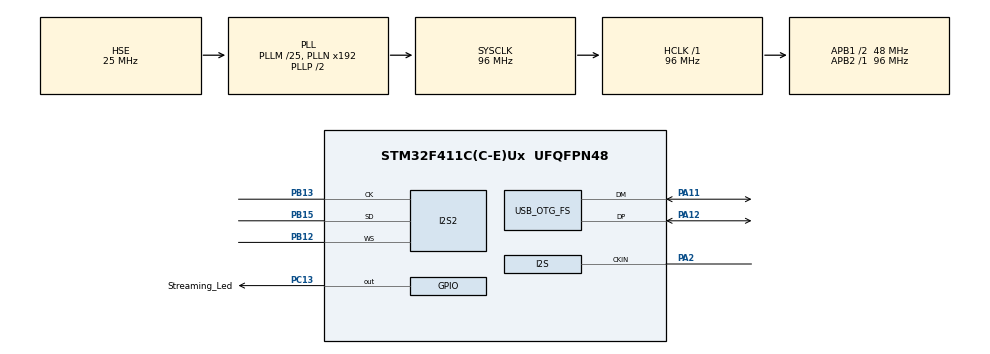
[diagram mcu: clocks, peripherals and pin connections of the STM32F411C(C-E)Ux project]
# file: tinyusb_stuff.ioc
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Dma.Request0=SPI2_TX
Dma.SPI2_TX.0.Direction=DMA_MEMORY_TO_PERIPH
Dma.SPI2_TX.0.FIFOMode=DMA_FIFOMODE_DISABLE
Dma.SPI2_TX.0.Instance=DMA1_Stream4
Dma.SPI2_TX.0.MemDataAlignment=DMA_MDATAALIGN_HALFWORD
Dma.SPI2_TX.0.MemInc=DMA_MINC_ENABLE
Dma.SPI2_TX.0.Mode=DMA_CIRCULAR
Dma.SPI2_TX.0.PeriphDataAlignment=DMA_PDATAALIGN_HALFWORD
Dma.SPI2_TX.0.PeriphInc=DMA_PINC_DISABLE
Dma.SPI2_TX.0.Priority=DMA_PRIORITY_VERY_HIGH
I2S2.AudioFreq=I2S_AUDIOFREQ_48K
I2S2.ClockSource=I2S_CLOCK_EXTERNAL
I2S2.DataFormat=I2S_DATAFORMAT_24B
I2S2.ErrorAudioFreq=0.0 %
I2S2.FullDuplexMode=I2S_FULLDUPLEXMODE_DISABLE
I2S2.Instance=SPI$Index
I2S2.RealAudioFreq=48.0 KHz
I2S2.VirtualMode=I2S_MODE_MASTER
Mcu.Family=STM32F4
Mcu.Name=STM32F411C(C-E)Ux
Mcu.Package=UFQFPN48
NVIC.DMA1_Stream4_IRQn=true\:0\:0\:false\:false\:true\:false\:true\:true
NVIC.OTG_FS_IRQn=true\:0\:0\:false\:false\:true\:true\:true\:true
NVIC.PriorityGroup=NVIC_PRIORITYGROUP_4
PA11.Mode=Device_Only
PA11.Signal=USB_OTG_FS_DM
PA12.Mode=Device_Only
PA12.Signal=USB_OTG_FS_DP
PA13.Mode=Serial_Wire
PA13.Signal=SYS_JTMS-SWDIO
PA14.Mode=Serial_Wire
PA14.Signal=SYS_JTCK-SWCLK
PA2.Mode=Audio_ClockIn
PA2.Signal=I2S_CKIN
PB12.Mode=Half_Duplex_Master
PB12.Signal=I2S2_WS
PB13.Mode=Half_Duplex_Master
PB13.Signal=I2S2_CK
PB15.Mode=Half_Duplex_Master
PB15.Signal=I2S2_SD
PC13-ANTI_TAMP.GPIO_Label=Streaming_Led
PC13-ANTI_TAMP.Signal=GPIO_Output
PC14-OSC32_IN.Mode=LSE-External-Oscillator
PC14-OSC32_IN.Signal=RCC_OSC32_IN
PC15-OSC32_OUT.Mode=LSE-External-Oscillator
PC15-OSC32_OUT.Signal=RCC_OSC32_OUT
PH0\ -\ OSC_IN.Mode=HSE-External-Oscillator
PH0\ -\ OSC_IN.Signal=RCC_OSC_IN
PH1\ -\ OSC_OUT.Mode=HSE-External-Oscillator
PH1\ -\ OSC_OUT.Signal=RCC_OSC_OUT
ProjectManager.HeapSize=0x2000
ProjectManager.StackSize=0x4000
ProjectManager.TargetToolchain=STM32CubeIDE
RCC.48MHZClocksFreq_Value=48000000
RCC.AHBFreq_Value=96000000
RCC.APB1CLKDivider=RCC_HCLK_DIV2
RCC.APB1Freq_Value=48000000
RCC.APB1TimFreq_Value=96000000
RCC.APB2Freq_Value=96000000
RCC.APB2TimFreq_Value=96000000
RCC.CortexFreq_Value=96000000
RCC.EXTERNAL_CLOCK_VALUE=49152000
RCC.HCLKFreq_Value=96000000
RCC.HSE_VALUE=25000000
RCC.HSI_VALUE=16000000
RCC.I2SClockSource=I2S_CLOCK_EXTERNAL
RCC.PLLI2SN=189
RCC.PLLM=25
RCC.SYSCLKFreq_VALUE=96000000
RCC.SYSCLKSource=RCC_SYSCLKSOURCE_PLLCLK
RCC.VCOOutputFreq_Value=192000000
USB_OTG_FS.VirtualMode=Device_Only
board=custom

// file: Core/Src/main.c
/* USER CODE BEGIN Header */
/**
  ******************************************************************************
  * @file           : main.c
  * @brief          : Main program body
  ******************************************************************************
  * @attention
  *
  * Copyright (c) 2026 STMicroelectronics.
  * All rights reserved.
  *
  * This software is licensed under terms that can be found in the LICENSE file
  * in the root directory of this software component.
  * If no LICENSE file comes with this software, it is provided AS-IS.
  *
  ******************************************************************************
  */
/* USER CODE END Header */
#include "main.h"

/* USER CODE BEGIN Includes */
#include "tusb.h"
#include "common_types.h"
#include "math.h"
/* USER CODE END Includes */

/* USER CODE BEGIN PD */
#define FRAMES_PER_HALF 192 	// how many frames each half of DMA buffer holds
								// larger = more headroom agains underruns but more latency<
								// smaller = less latency but also less headroom for underruns
								// with 48KHz sampling freq, 96 frames is 2ms of audio data, 96Khz sampling freq is 96 frames is 1ms etc..

#define SAMPLES_PER_HALF ((FRAMES_PER_HALF) * 2) // stereo
#define BYTES_PER_HALF (SAMPLES_PER_HALF * 4)
#define USB_BYTES_PER_SAMPLE 3 // USB sends 24 bit audio data
#define USB_BYTES_PER_HALF (SAMPLES_PER_HALF * USB_BYTES_PER_SAMPLE)
#define I2S_BYTES_PER_SAMPLE 4 // 24 bit data on 32 bit frames

/* USER CODE END PD */

I2S_HandleTypeDef hi2s2;
DMA_HandleTypeDef hdma_spi2_tx;

PCD_HandleTypeDef hpcd_USB_OTG_FS;

void SystemClock_Config(void);
static void MX_GPIO_Init(void);
static void MX_DMA_Init(void);
static void MX_USB_OTG_FS_PCD_Init(void);
static void MX_I2S2_Init(void);
/* USER CODE BEGIN PFP */

void audio_task(void);
void audio_start(void);
static void fillHalfBuffer(int half);
static uint32_t swap_halfwords(uint32_t value);
static void update_gain(void);
static void reconfigure_i2s(uint32_t newSampleRate);
static int32_t usb24_to_int32(const uint8_t *p);

/* USER CODE END PFP */

/* USER CODE BEGIN 0 */
enum {
  VOLUME_CTRL_0_DB = 0,
  VOLUME_CTRL_10_DB = 2560,
  VOLUME_CTRL_20_DB = 5120,
  VOLUME_CTRL_30_DB = 7680,
  VOLUME_CTRL_40_DB = 10240,
  VOLUME_CTRL_50_DB = 12800,
  VOLUME_CTRL_60_DB = 15360,
  VOLUME_CTRL_70_DB = 17920,
  VOLUME_CTRL_80_DB = 20480,
  VOLUME_CTRL_90_DB = 23040,
  VOLUME_CTRL_100_DB = 25600,
  VOLUME_CTRL_SILENCE = 0x8000,
};

// Audio controls
// Current states
uint8_t mute[CFG_TUD_AUDIO_FUNC_1_N_CHANNELS_RX + 1];   // +1 for master channel 0
int16_t volume[CFG_TUD_AUDIO_FUNC_1_N_CHANNELS_RX + 1];// +1 for master channel 0
uint32_t current_sample_rate = 48000;
static float gain = 1.0f;

// Buffer for speaker data

static int32_t i2s_dma_buf[2 * SAMPLES_PER_HALF];
static volatile bool half_needs_fill[2];
static uint8_t usb_audio_buf[USB_BYTES_PER_HALF];

void HAL_I2S_TxHalfCpltCallback(I2S_HandleTypeDef *hi2s) {
	half_needs_fill[0] = true;
}

void HAL_I2S_TxCpltCallback(I2S_HandleTypeDef *hi2s)     {
	half_needs_fill[1] = true;
}

/* USER CODE END 0 */

int main(void)
{

  /* MCU Configuration--------------------------------------------------------*/

  /* Reset of all peripherals, Initializes the Flash interface and the Systick. */
  HAL_Init();

  /* Configure the system clock */
  SystemClock_Config();

  /* Initialize all configured peripherals */
  MX_GPIO_Init();
  MX_DMA_Init();
  MX_USB_OTG_FS_PCD_Init();
  MX_I2S2_Init();
  /* USER CODE BEGIN 2 */
  tusb_rhport_init_t dev_init =  {
		  .role = TUSB_ROLE_DEVICE,
		  .speed = TUSB_SPEED_FULL
  };

  tusb_init(0, &dev_init);
  audio_start();
  /* USER CODE END 2 */

  /* Infinite loop */
  while (1)
  {

    /* USER CODE BEGIN 3 */

	  tud_task();
	  audio_task();

  }
  /* USER CODE END 3 */
}

void SystemClock_Config(void)
{
  RCC_OscInitTypeDef RCC_OscInitStruct = {0};
  RCC_ClkInitTypeDef RCC_ClkInitStruct = {0};

  /** Configure the main internal regulator output voltage
  */
  __HAL_RCC_PWR_CLK_ENABLE();
  __HAL_PWR_VOLTAGESCALING_CONFIG(PWR_REGULATOR_VOLTAGE_SCALE1);

  /** Initializes the RCC Oscillators according to the specified parameters
  * in the RCC_OscInitTypeDef structure.
  */
  RCC_OscInitStruct.OscillatorType = RCC_OSCILLATORTYPE_HSE;
  RCC_OscInitStruct.HSEState = RCC_HSE_ON;
  RCC_OscInitStruct.PLL.PLLState = RCC_PLL_ON;
  RCC_OscInitStruct.PLL.PLLSource = RCC_PLLSOURCE_HSE;
  RCC_OscInitStruct.PLL.PLLM = 25;
  RCC_OscInitStruct.PLL.PLLN = 192;
  RCC_OscInitStruct.PLL.PLLP = RCC_PLLP_DIV2;
  RCC_OscInitStruct.PLL.PLLQ = 4;
  if (HAL_RCC_OscConfig(&RCC_OscInitStruct) != HAL_OK)
  {
    Error_Handler();
  }

  /** Initializes the CPU, AHB and APB buses clocks
  */
  RCC_ClkInitStruct.ClockType = RCC_CLOCKTYPE_HCLK|RCC_CLOCKTYPE_SYSCLK
                              |RCC_CLOCKTYPE_PCLK1|RCC_CLOCKTYPE_PCLK2;
  RCC_ClkInitStruct.SYSCLKSource = RCC_SYSCLKSOURCE_PLLCLK;
  RCC_ClkInitStruct.AHBCLKDivider = RCC_SYSCLK_DIV1;
  RCC_ClkInitStruct.APB1CLKDivider = RCC_HCLK_DIV2;
  RCC_ClkInitStruct.APB2CLKDivider = RCC_HCLK_DIV1;

  if (HAL_RCC_ClockConfig(&RCC_ClkInitStruct, FLASH_LATENCY_3) != HAL_OK)
  {
    Error_Handler();
  }
}

static void MX_I2S2_Init(void)
{

  hi2s2.Instance = SPI2;
  hi2s2.Init.Mode = I2S_MODE_MASTER_TX;
  hi2s2.Init.Standard = I2S_STANDARD_PHILIPS;
  hi2s2.Init.DataFormat = I2S_DATAFORMAT_24B;
  hi2s2.Init.MCLKOutput = I2S_MCLKOUTPUT_DISABLE;
  hi2s2.Init.AudioFreq = I2S_AUDIOFREQ_48K;
  hi2s2.Init.CPOL = I2S_CPOL_LOW;
  hi2s2.Init.ClockSource = I2S_CLOCK_PLL;
  hi2s2.Init.FullDuplexMode = I2S_FULLDUPLEXMODE_DISABLE;
  if (HAL_I2S_Init(&hi2s2) != HAL_OK)
  {
    Error_Handler();
  }

}

static void MX_USB_OTG_FS_PCD_Init(void)
{

  hpcd_USB_OTG_FS.Instance = USB_OTG_FS;
  hpcd_USB_OTG_FS.Init.dev_endpoints = 4;
  hpcd_USB_OTG_FS.Init.speed = PCD_SPEED_FULL;
  hpcd_USB_OTG_FS.Init.dma_enable = DISABLE;
  hpcd_USB_OTG_FS.Init.phy_itface = PCD_PHY_EMBEDDED;
  hpcd_USB_OTG_FS.Init.Sof_enable = DISABLE;
  hpcd_USB_OTG_FS.Init.low_power_enable = DISABLE;
  hpcd_USB_OTG_FS.Init.lpm_enable = DISABLE;
  hpcd_USB_OTG_FS.Init.vbus_sensing_enable = DISABLE;
  hpcd_USB_OTG_FS.Init.use_dedicated_ep1 = DISABLE;
  if (HAL_PCD_Init(&hpcd_USB_OTG_FS) != HAL_OK)
  {
    Error_Handler();
  }

}

static void MX_DMA_Init(void)
{

  /* DMA controller clock enable */
  __HAL_RCC_DMA1_CLK_ENABLE();

  /* DMA interrupt init */
  /* DMA1_Stream4_IRQn interrupt configuration */
  HAL_NVIC_SetPriority(DMA1_Stream4_IRQn, 0, 0);
  HAL_NVIC_EnableIRQ(DMA1_Stream4_IRQn);

}

static void MX_GPIO_Init(void)
{
  GPIO_InitTypeDef GPIO_InitStruct = {0};

  /* GPIO Ports Clock Enable */
  __HAL_RCC_GPIOC_CLK_ENABLE();
  __HAL_RCC_GPIOH_CLK_ENABLE();
  __HAL_RCC_GPIOB_CLK_ENABLE();
  __HAL_RCC_GPIOA_CLK_ENABLE();

  /*Configure GPIO pin Output Level */
  HAL_GPIO_WritePin(Streaming_Led_GPIO_Port, Streaming_Led_Pin, GPIO_PIN_RESET);

  /*Configure GPIO pin : Streaming_Led_Pin */
  GPIO_InitStruct.Pin = Streaming_Led_Pin;
  GPIO_InitStruct.Mode = GPIO_MODE_OUTPUT_PP;
  GPIO_InitStruct.Pull = GPIO_NOPULL;
  GPIO_InitStruct.Speed = GPIO_SPEED_FREQ_LOW;
  HAL_GPIO_Init(Streaming_Led_GPIO_Port, &GPIO_InitStruct);

}

/* USER CODE BEGIN 4 */

//--------------------------------------------------------------------+
// Device callbacks
//--------------------------------------------------------------------+

// Invoked when device is mounted

void tud_mount_cb(void) {

}

// Invoked when device is unmounted
void tud_umount_cb(void) {

}

// Invoked when usb bus is suspended
// remote_wakeup_en : if host allow us  to perform remote wakeup
// Within 7ms, device must draw an average of current less than 2.5 mA from bus
void tud_suspend_cb(bool remote_wakeup_en) {
  (void) remote_wakeup_en;

}

// Invoked when usb bus is resumed
void tud_resume_cb(void) {

}

//--------------------------------------------------------------------+
// Application Callback API Implementations
//--------------------------------------------------------------------+

//--------------------------------------------------------------------+
// UAC1 Helper Functions
//--------------------------------------------------------------------+

static bool audio10_set_req_ep(tusb_control_request_t const *p_request, uint8_t *pBuff) {
  uint8_t ctrlSel = TU_U16_HIGH(p_request->wValue);

  switch (ctrlSel) {
    case AUDIO10_EP_CTRL_SAMPLING_FREQ:
      if (p_request->bRequest == AUDIO10_CS_REQ_SET_CUR) {
        // Request uses 3 bytes
        TU_VERIFY(p_request->wLength == 3);

        current_sample_rate = tu_unaligned_read32(pBuff) & 0x00FFFFFF;
        reconfigure_i2s(current_sample_rate);

        TU_LOG2("EP set current freq: %" PRIu32 "\r\n", current_sample_rate);

        return true;
      }
      break;

    // Unknown/Unsupported control
    default:
      TU_BREAKPOINT();
      return false;
  }

  return false;
}

static bool audio10_get_req_ep(uint8_t rhport, tusb_control_request_t const *p_request) {
  uint8_t ctrlSel = TU_U16_HIGH(p_request->wValue);

  switch (ctrlSel) {
    case AUDIO10_EP_CTRL_SAMPLING_FREQ:
      if (p_request->bRequest == AUDIO10_CS_REQ_GET_CUR) {
        TU_LOG2("EP get current freq\r\n");

        uint8_t freq[3];
        freq[0] = (uint8_t) (current_sample_rate & 0xFF);
        freq[1] = (uint8_t) ((current_sample_rate >> 8) & 0xFF);
        freq[2] = (uint8_t) ((current_sample_rate >> 16) & 0xFF);
        return tud_audio_buffer_and_schedule_control_xfer(rhport, p_request, freq, sizeof(freq));
      }
      break;

    // Unknown/Unsupported control
    default:
      TU_BREAKPOINT();
      return false;
  }

  return false;
}

static bool audio10_set_req_entity(tusb_control_request_t const *p_request, uint8_t *pBuff) {
  uint8_t channelNum = TU_U16_LOW(p_request->wValue);
  uint8_t ctrlSel = TU_U16_HIGH(p_request->wValue);
  uint8_t entityID = TU_U16_HIGH(p_request->wIndex);

  // If request is for our feature unit
  if (entityID == UAC1_ENTITY_FEATURE_UNIT) {
    // Channel number is host-controlled (0..255) but mute[]/volume[] hold only
    // CFG_TUD_AUDIO_FUNC_1_N_CHANNELS_RX + 1 entries - reject out-of-range (STALL)
    TU_VERIFY(channelNum <= CFG_TUD_AUDIO_FUNC_1_N_CHANNELS_RX);

    switch (ctrlSel) {
      case AUDIO10_FU_CTRL_MUTE:
        switch (p_request->bRequest) {
          case AUDIO10_CS_REQ_SET_CUR:
            // Only 1st form is supported
            TU_VERIFY(p_request->wLength == 1);

            mute[channelNum] = pBuff[0];
            update_gain();

            TU_LOG2("    Set Mute: %d of channel: %u\r\n", mute[channelNum], channelNum);
            return true;

          default:
            return false; // not supported
        }

      case AUDIO10_FU_CTRL_VOLUME:
        switch (p_request->bRequest) {
          case AUDIO10_CS_REQ_SET_CUR:
            // Only 1st form is supported
            TU_VERIFY(p_request->wLength == 2);

            volume[channelNum] = (int16_t)tu_unaligned_read16(pBuff) / 256;
            update_gain();

            TU_LOG2("    Set Volume: %d dB of channel: %u\r\n", volume[channelNum], channelNum);
            return true;

          default:
            return false; // not supported
        }

        // Unknown/Unsupported control
      default:
        TU_BREAKPOINT();
        return false;
    }
  }

  return false;
}

static bool audio10_get_req_entity(uint8_t rhport, tusb_control_request_t const *p_request) {
  uint8_t channelNum = TU_U16_LOW(p_request->wValue);
  uint8_t ctrlSel = TU_U16_HIGH(p_request->wValue);
  uint8_t entityID = TU_U16_HIGH(p_request->wIndex);

  // If request is for our feature unit
  if (entityID == UAC1_ENTITY_FEATURE_UNIT) {
    // Channel number is host-controlled (0..255) but mute[]/volume[] hold only
    // CFG_TUD_AUDIO_FUNC_1_N_CHANNELS_RX + 1 entries - reject out-of-range (STALL)
    TU_VERIFY(channelNum <= CFG_TUD_AUDIO_FUNC_1_N_CHANNELS_RX);

    switch (ctrlSel) {
      case AUDIO10_FU_CTRL_MUTE:
        // Audio control mute cur parameter block consists of only one byte - we thus can send it right away
        // There does not exist a range parameter block for mute
        TU_LOG2("    Get Mute of channel: %u\r\n", channelNum);
        return tud_audio_buffer_and_schedule_control_xfer(rhport, p_request, &mute[channelNum], 1);

      case AUDIO10_FU_CTRL_VOLUME:
        switch (p_request->bRequest) {
          case AUDIO10_CS_REQ_GET_CUR:
            TU_LOG2("    Get Volume of channel: %u\r\n", channelNum);
            {
              int16_t vol = (int16_t) volume[channelNum];
              vol = vol * 256; // convert to 1/256 dB units
              return tud_audio_buffer_and_schedule_control_xfer(rhport, p_request, &vol, sizeof(vol));
            }

          case AUDIO10_CS_REQ_GET_MIN:
            TU_LOG2("    Get Volume min of channel: %u\r\n", channelNum);
            {
              int16_t min = -90; // -90 dB
              min = min * 256; // convert to 1/256 dB units
              return tud_audio_buffer_and_schedule_control_xfer(rhport, p_request, &min, sizeof(min));
            }

          case AUDIO10_CS_REQ_GET_MAX:
            TU_LOG2("    Get Volume max of channel: %u\r\n", channelNum);
            {
              int16_t max = 0; // 0db max
              max = max * 256; // convert to 1/256 dB units
              return tud_audio_buffer_and_schedule_control_xfer(rhport, p_request, &max, sizeof(max));
            }

          case AUDIO10_CS_REQ_GET_RES:
            TU_LOG2("    Get Volume res of channel: %u\r\n", channelNum);
            {
              int16_t res = 256; // 1 dB
              return tud_audio_buffer_and_schedule_control_xfer(rhport, p_request, &res, sizeof(res));
            }
            // Unknown/Unsupported control
          default:
            TU_BREAKPOINT();
            return false;
        }
        break;

        // Unknown/Unsupported control
      default:
        TU_BREAKPOINT();
        return false;
    }
  }

  return false;
}

//--------------------------------------------------------------------+
// Main Callback Functions
//--------------------------------------------------------------------+

bool tud_audio_set_itf_cb(uint8_t rhport, tusb_control_request_t const *p_request) {
  (void) rhport;
  uint8_t const itf = tu_u16_low(p_request->wIndex);
  uint8_t const alt = tu_u16_low(p_request->wValue);

  TU_LOG2("Set interface %d alt %d\r\n", itf, alt);
  if (ITF_NUM_AUDIO_STREAMING == itf && alt != 0) {

  }
  return true;
}

// Invoked when audio class specific set request received for an EP
bool tud_audio_set_req_ep_cb(uint8_t rhport, tusb_control_request_t const *p_request, uint8_t *pBuff) {
  (void) rhport;
  (void) pBuff;

  if (tud_audio_version() == 1) {
    return audio10_set_req_ep(p_request, pBuff);
  } else if (tud_audio_version() == 2) {
    // We do not support any requests here
  }

  return false;// Yet not implemented
}

// Invoked when audio class specific get request received for an EP
bool tud_audio_get_req_ep_cb(uint8_t rhport, tusb_control_request_t const *p_request) {
  (void) rhport;

  if (tud_audio_version() == 1) {
    return audio10_get_req_ep(rhport, p_request);
  } else if (tud_audio_version() == 2) {
    // We do not support any requests here
  }

  return false;// Yet not implemented
}

// Invoked when audio class specific set request received for an entity
bool tud_audio_set_req_entity_cb(uint8_t rhport, tusb_control_request_t const *p_request, uint8_t *buf) {
  (void) rhport;

  if (tud_audio_version() == 1) {
    return audio10_set_req_entity(p_request, buf);
  }

  return false;
}

// Invoked when audio class specific get request received for an entity
bool tud_audio_get_req_entity_cb(uint8_t rhport, tusb_control_request_t const *p_request) {
  (void) rhport;

  if (tud_audio_version() == 1) {
    return audio10_get_req_entity(rhport, p_request);
  }

  return false;
}

bool tud_audio_set_itf_close_ep_cb(uint8_t rhport, tusb_control_request_t const *p_request) {
  (void) rhport;

  uint8_t const itf = tu_u16_low(p_request->wIndex);
  uint8_t const alt = tu_u16_low(p_request->wValue);

  if (ITF_NUM_AUDIO_STREAMING == itf && alt == 0) {
    //blink_interval_ms = BLINK_MOUNTED;
  }

  return true;
}

void tud_audio_feedback_params_cb(uint8_t func_id, uint8_t alt_itf, audio_feedback_params_t *feedback_param) {
  (void) func_id;
  (void) alt_itf;
  // Set feedback method to fifo counting
  feedback_param->method = AUDIO_FEEDBACK_METHOD_FIFO_COUNT;
  feedback_param->sample_freq = current_sample_rate;

  // About FIFO threshold:
  //
  // By default the threshold is set to half FIFO size, which works well in most cases,
  // you can reduce the threshold to have less latency.
  //
  // For example, here we could set the threshold to 2 ms of audio data, as audio_task() read audio data every 1 ms,
  // having 2 ms threshold allows some margin and a quick response:
  //
  // feedback_param->fifo_count.fifo_threshold =
  //    current_sample_rate * CFG_TUD_AUDIO_FUNC_1_N_CHANNELS_RX * CFG_TUD_AUDIO_FUNC_1_N_BYTES_PER_SAMPLE_RX / 1000 * 2;
}

//--------------------------------------------------------------------+
// AUDIO Task
//--------------------------------------------------------------------+

void audio_start(void)
{
    memset(i2s_dma_buf, 0, sizeof i2s_dma_buf);   // start with silence
    HAL_I2S_Transmit_DMA(&hi2s2, (uint16_t *)i2s_dma_buf, 2 * SAMPLES_PER_HALF);
}

void audio_task(void) {

	for (int half = 0; half < 2; half++) {

        if (half_needs_fill[half]) {

            half_needs_fill[half] = false;

            fillHalfBuffer(half);

        }

    }

}

static void fillHalfBuffer(int half)
{
    int32_t *dest = &i2s_dma_buf[half * SAMPLES_PER_HALF];
    uint16_t got = tud_audio_read(usb_audio_buf, USB_BYTES_PER_HALF);

    // Only use whole stereo frames (6 bytes each)
    uint16_t samples = got / USB_BYTES_PER_SAMPLE;
    samples &= ~1u;

    for (uint16_t i = 0; i < samples; i++)
    {
        // Real signed 24-bit value, left-aligned in 32 bits
        int32_t sample = usb24_to_i2s32(&usb_audio_buf[i * USB_BYTES_PER_SAMPLE]);

        // Volume on the real value
        sample = (int32_t)((float)sample * gain);

        // Swap halfwords last, in the order the I2S peripheral sends them
        dest[i] = (int32_t)swap_halfwords((uint32_t)sample);
    }

    // pad the rest with silence (zero is the same after the swap)
    if (samples < SAMPLES_PER_HALF)
    {
        memset(&dest[samples], 0, (SAMPLES_PER_HALF - samples) * sizeof(int32_t));
    }
}

static void update_gain(void) {

	if(mute[0]) {
		gain = 0.0f;
	} else {
		gain = powf(10.0f, volume[0] / 20.0f);
	}
}

static void reconfigure_i2s(uint32_t newSampleRate) {
    HAL_I2S_DMAStop(&hi2s2);
    HAL_I2S_DeInit(&hi2s2);

    hi2s2.Init.AudioFreq = newSampleRate;
    if (HAL_I2S_Init(&hi2s2) != HAL_OK) {
        Error_Handler();
    }

    half_needs_fill[0] = false;
    half_needs_fill[1] = false;
    audio_start();
}

static uint32_t swap_halfwords(uint32_t value) {

	return (value << 16) | (value >> 16);
}

static int32_t usb24_to_int32(const uint8_t *p)
{
    // USB sends 24-bit samples LSB first
    // 24 bits of a 32-bit word keeps the sign bit in the right place.
    uint32_t raw = ((uint32_t)p[0] << 8) |
                   ((uint32_t)p[1] << 16) |
                   ((uint32_t)p[2] << 24);

    return (int32_t)raw;
}

/* USER CODE END 4 */

void Error_Handler(void)
{
  __disable_irq();
  while (1)
  {
  }
}
